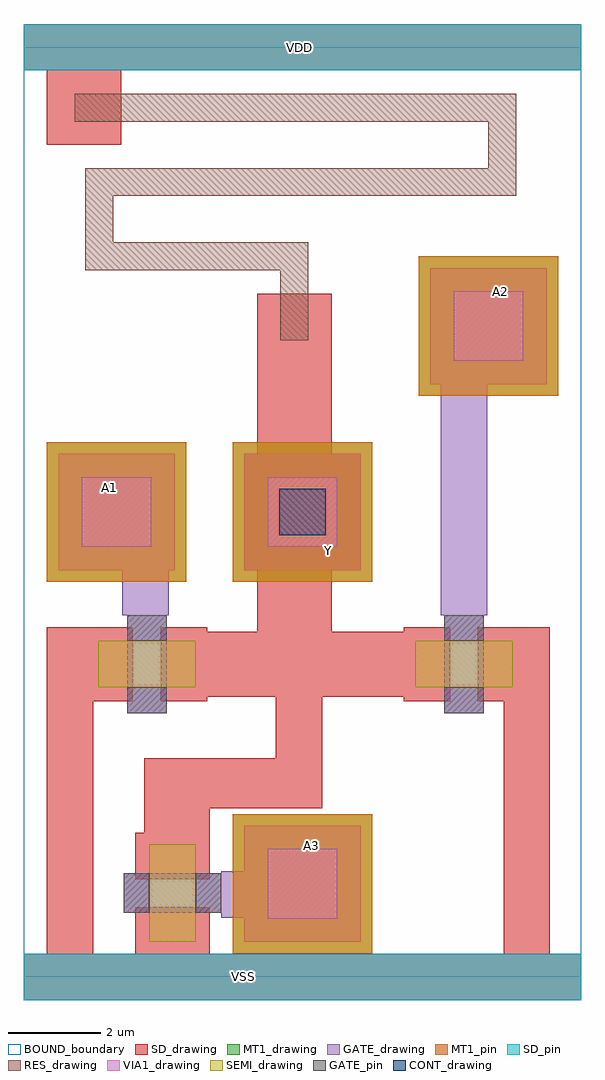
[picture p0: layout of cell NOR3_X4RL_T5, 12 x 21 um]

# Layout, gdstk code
from math import pi, radians
import gdstk
lib = gdstk.Library(unit=1e-6, precision=1e-09)
def R(c, l, rs):  # rectangles x0, y0, x1, y1
    for r in rs: c.add(gdstk.rectangle(r[:2], r[2:], *l))
def P(c, l, *ps):  # polygons
    for p in ps: c.add(gdstk.Polygon(p, *l))
RES_drawing = (1, 0)
SEMI_drawing = (3, 0)
SD_drawing = (10, 0)
SD_pin = (10, 3)
GATE_drawing = (11, 0)
GATE_pin = (11, 3)
MT1_drawing = (20, 0)
MT1_pin = (20, 3)
CONT_drawing = (30, 0)
VIA1_drawing = (41, 0)
BOUND_boundary = (150, 5)

nch_cdns_772545078570 = lib.new_cell('nch_CDNS_772545078570')
R(nch_cdns_772545078570, SEMI_drawing, [(-1.05,-0.5,1.05,0.5)])
R(nch_cdns_772545078570, SD_drawing, [(-1.3,-0.8,-0.3,0.8), (0.3,-0.8,1.3,0.8)])
R(nch_cdns_772545078570, GATE_drawing, [(-0.425,-1.05,0.425,1.05)])
R(nch_cdns_772545078570, GATE_pin, [(-0.425,-1.05,0.425,-0.5), (-0.425,0.5,0.425,1.05)])

sd_gate_cdns_77254507857 = lib.new_cell('SD_GATE_CDNS_772545078570')
R(sd_gate_cdns_77254507857, SD_drawing, [(-1.25,-1.25,1.25,1.25)])
R(sd_gate_cdns_77254507857, GATE_drawing, [(-1.25,-1.25,1.25,1.25)])
R(sd_gate_cdns_77254507857, CONT_drawing, [(-0.5,-0.5,0.5,0.5)])

gate_mt1_cdns_7725450785 = lib.new_cell('GATE_MT1_CDNS_772545078571')
R(gate_mt1_cdns_7725450785, GATE_drawing, [(-1.25,-1.25,1.25,1.25)])
R(gate_mt1_cdns_7725450785, MT1_drawing, [(-1.25,-1.25,1.25,1.25)])
R(gate_mt1_cdns_7725450785, VIA1_drawing, [(-0.75,-0.75,0.75,0.75)])

nor3_x4rl_t5 = lib.new_cell('NOR3_X4RL_T5')
R(nor3_x4rl_t5, SD_drawing, [(0,-0.5,12,0.5), (0.5,0.5,1.5,7.525), (10.325,0.5,11.325,7.525), (2.6,3.625,6.425,4.7), (5.425,3.625,6.425,6.025), (3.95,6.025,5.025,7.425), (5.025,13.1,6.625,14.7), (0.5,17.9,2.1,19.5), (0,19.5,12,20.5)])
R(nor3_x4rl_t5, SD_pin, [(0,-0.5,12,0.5), (0,19.5,12,20.5)])
P(nor3_x4rl_t5, GATE_drawing, [(3.125,7.875),(2.125,7.875),(2.125,7.775),(2.275,7.775),(2.275,7.725),(3.025,7.725),(3.025,7.775),(3.125,7.775)],
  [(9.975,7.875),(8.975,7.875),(8.975,7.775),(9.1,7.775),(9.1,7.725),(9.85,7.725),(9.85,7.775),(9.975,7.775)],
  [(4.35,1.275),(4.35,2.275),(4.25,2.275),(4.25,2.175),(4.2,2.175),(4.2,1.425),(4.25,1.425),(4.25,1.275)])
R(nor3_x4rl_t5, MT1_drawing, [(4.5,0.5,7.5,3.5), (0.5,8.5,3.5,11.5), (4.5,8.5,7.5,11.5), (8.5,12.5,11.5,15.5)])
R(nor3_x4rl_t5, MT1_pin, [(4.5,0.5,7.5,3.5), (0.5,8.5,3.5,11.5), (4.5,8.5,7.5,11.5), (8.5,12.5,11.5,15.5)])
R(nor3_x4rl_t5, BOUND_boundary, [(0,0,12,20)])
nor3_x4rl_t5.add(gdstk.FlexPath([(9.475,7.875),(9.475,12.775)], 1, ends="flush", simple_path=True, layer=11, datatype=0))  # GATE_drawing
nor3_x4rl_t5.add(gdstk.FlexPath([(2.625,7.875),(2.625,8.325)], 1, ends=(0, 0.5), simple_path=True, layer=11, datatype=0))  # GATE_drawing
nor3_x4rl_t5.add(gdstk.FlexPath([(4.35,1.775),(7,1.775)], 1, ends="flush", simple_path=True, layer=11, datatype=0))  # GATE_drawing
nor3_x4rl_t5.add(gdstk.FlexPath([(5.825,13.1),(5.825,6.725)], 1.6, ends=(0, 0.7), simple_path=True, layer=10, datatype=0))  # SD_drawing
nor3_x4rl_t5.add(gdstk.FlexPath([(8.175,6.725),(6.625,6.725)], 1.4, ends="flush", simple_path=True, layer=10, datatype=0))  # SD_drawing
nor3_x4rl_t5.add(gdstk.FlexPath([(3.3,2.3),(3.3,3.9)], 1.4, ends="flush", simple_path=True, layer=10, datatype=0))  # SD_drawing
nor3_x4rl_t5.add(gdstk.FlexPath([(5.825,14.7),(5.825,15.5),(1.625,15.5),(1.625,17.1),(10.3,17.1),(10.3,18.7),(2.1,18.7)], 0.6, ends=(1, 1), simple_path=True, layer=1, datatype=0))  # RES_drawing
nor3_x4rl_t5.add(gdstk.Reference(nch_cdns_772545078570, (2.65,6.725)))
nor3_x4rl_t5.add(gdstk.Reference(nch_cdns_772545078570, (9.475,6.725), rotation=pi))
nor3_x4rl_t5.add(gdstk.Reference(nch_cdns_772545078570, (3.2,1.8), rotation=3*pi/2))
nor3_x4rl_t5.add(gdstk.Reference(sd_gate_cdns_77254507857, (6,10)))
nor3_x4rl_t5.add(gdstk.Reference(gate_mt1_cdns_7725450785, (10,14), x_reflection=True))
nor3_x4rl_t5.add(gdstk.Reference(gate_mt1_cdns_7725450785, (6,10), x_reflection=True))
nor3_x4rl_t5.add(gdstk.Reference(gate_mt1_cdns_7725450785, (2,10), x_reflection=True))
nor3_x4rl_t5.add(gdstk.Reference(gate_mt1_cdns_7725450785, (6,2), x_reflection=True))
nor3_x4rl_t5.add(gdstk.Label('VDD', (5.925,20), layer=10, texttype=3))
nor3_x4rl_t5.add(gdstk.Label('VSS', (4.725,0), layer=10, texttype=3))
nor3_x4rl_t5.add(gdstk.Label('A1', (1.85,10.525), layer=20, texttype=3))
nor3_x4rl_t5.add(gdstk.Label('A2', (10.25,14.75), layer=20, texttype=3))
nor3_x4rl_t5.add(gdstk.Label('Y', (6.55,9.175), layer=20, texttype=3))
nor3_x4rl_t5.add(gdstk.Label('A3', (6.2,2.825), layer=20, texttype=3))

lib.write_gds('NOR3_X4RL_T5.gds')
